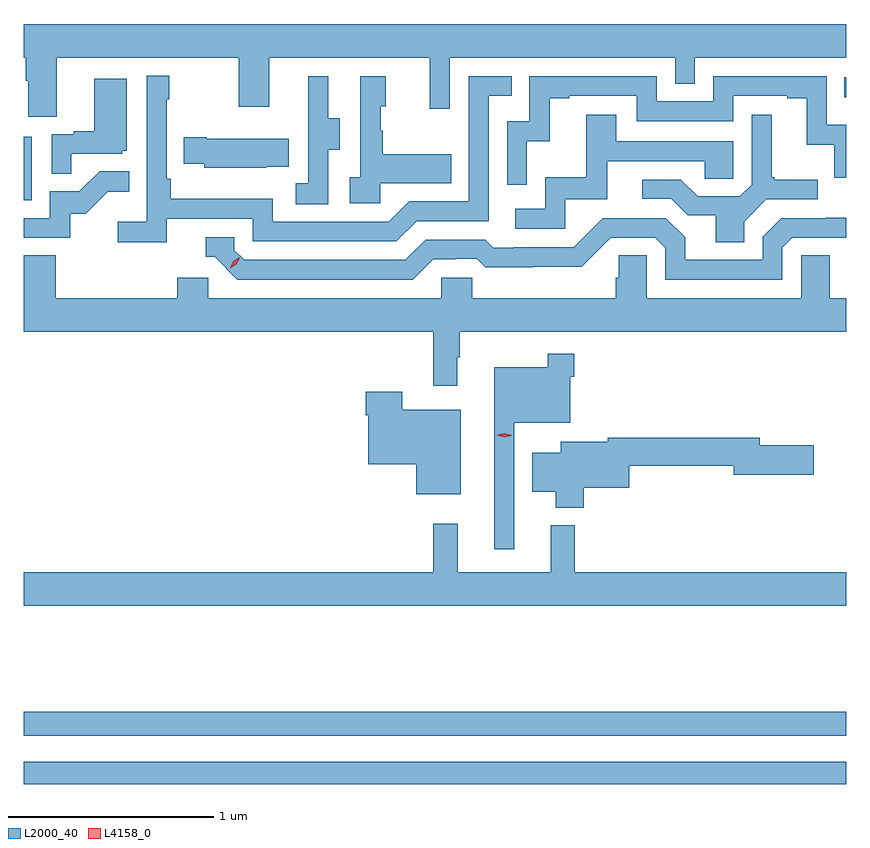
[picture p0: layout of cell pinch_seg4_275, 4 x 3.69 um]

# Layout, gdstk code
import gdstk
lib = gdstk.Library(unit=1e-6, precision=1e-09)
def R(c, l, rs):  # rectangles x0, y0, x1, y1
    for r in rs: c.add(gdstk.rectangle(r[:2], r[2:], *l))
def P(c, l, *ps):  # polygons
    for p in ps: c.add(gdstk.Polygon(p, *l))
L2000_40 = (2000, 40)
L4158_0 = (4158, 0)

pinch_seg4_275 = lib.new_cell('pinch_seg4_275')
R(pinch_seg4_275, L2000_40, [(937.339,813.27,941.339,813.378), (937.339,813.504,941.339,813.62), (937.339,816.108,937.378,816.415), (941.329,816.608,941.339,816.705)])
P(pinch_seg4_275, L2000_40, [(937.501,816.8),(938.386,816.8),(938.386,816.561),(938.533,816.561),(938.533,816.8),(939.314,816.8),(939.314,816.552),(939.411,816.552),(939.411,816.8),(940.506,816.8),(940.506,816.673),(940.602,816.673),(940.602,816.8),(941.339,816.8),(941.339,816.964),(937.339,816.964),(937.339,816.8),(937.349,816.8),(937.349,816.688),(937.361,816.688),(937.361,816.514),(937.501,816.514)],
  [(938.036,816.018),(938.454,816.018),(938.454,815.907),(939.151,815.907),(939.25,816.006),(939.6,816.006),(939.6,816.615),(939.713,816.615),(939.713,816.711),(939.504,816.711),(939.504,816.102),(939.213,816.102),(939.114,816.003),(938.55,816.003),(938.55,816.115),(938.054,816.115),(938.054,816.211),(938.034,816.211),(938.034,816.599),(938.047,816.599),(938.047,816.712),(937.938,816.712),(937.938,816.004),(937.797,816.004),(937.797,815.902),(938.036,815.902)],
  [(939.786,816.395),(939.896,816.395),(939.896,816.603),(939.991,816.603),(939.991,816.615),(940.32,816.615),(940.32,816.492),(940.788,816.492),(940.788,816.615),(941.051,816.615),(941.051,816.603),(941.147,816.603),(941.147,816.377),(941.28,816.377),(941.28,816.216),(941.339,816.216),(941.339,816.475),(941.244,816.475),(941.244,816.711),(940.692,816.711),(940.692,816.588),(940.416,816.588),(940.416,816.711),(939.798,816.711),(939.798,816.492),(939.69,816.492),(939.69,816.183),(939.786,816.183)],
  [(938.82,816.352),(938.875,816.352),(938.875,816.507),(938.821,816.507),(938.821,816.709),(938.723,816.709),(938.723,816.495),(938.724,816.495),(938.724,816.191),(938.661,816.191),(938.661,816.088),(938.82,816.088)],
  [(939.072,816.191),(939.419,816.191),(939.419,816.331),(939.085,816.331),(939.085,816.446),(939.075,816.446),(939.075,816.564),(939.1,816.564),(939.1,816.709),(938.976,816.709),(938.976,816.218),(938.925,816.218),(938.925,816.093),(939.072,816.093)],
  [(937.571,816.333),(937.818,816.333),(937.818,816.348),(937.84,816.348),(937.84,816.697),(937.682,816.697),(937.682,816.442),(937.583,816.442),(937.583,816.429),(937.476,816.429),(937.476,816.235),(937.571,816.235)],
  [(939.972,816.111),(940.177,816.111),(940.177,816.297),(940.651,816.297),(940.651,816.213),(940.788,816.213),(940.788,816.393),(940.219,816.393),(940.219,816.523),(940.075,816.523),(940.075,816.22),(939.876,816.22),(939.876,816.066),(939.729,816.066),(939.729,815.97),(939.972,815.97)],
  [(940.843,816.004),(940.95,816.111),(941.2,816.111),(941.2,816.208),(940.987,816.208),(940.987,816.22),(940.975,816.22),(940.975,816.523),(940.878,816.523),(940.878,816.183),(940.821,816.126),(940.615,816.126),(940.534,816.207),(940.347,816.207),(940.347,816.114),(940.488,816.114),(940.568,816.034),(940.703,816.034),(940.703,815.902),(940.843,815.902)],
  [(938.519,816.269),(938.627,816.269),(938.627,816.406),(938.23,816.406),(938.23,816.414),(938.119,816.414),(938.119,816.284),(938.217,816.284),(938.217,816.266),(938.519,816.266)],
  [(937.566,816.042),(937.642,816.042),(937.749,816.149),(937.853,816.149),(937.853,816.248),(937.709,816.248),(937.611,816.15),(937.467,816.15),(937.467,816.021),(937.339,816.021),(937.339,815.925),(937.566,815.925)],
  [(939.331,815.82),(939.438,815.82),(939.438,815.823),(939.541,815.823),(939.583,815.781),(939.816,815.781),(939.816,815.783),(940.052,815.783),(940.194,815.925),(940.41,815.925),(940.458,815.877),(940.458,815.721),(941.028,815.721),(941.028,815.877),(941.076,815.925),(941.339,815.925),(941.339,816.023),(941.238,816.023),(941.238,816.021),(941.022,816.021),(940.932,815.931),(940.932,815.817),(940.555,815.817),(940.555,815.927),(940.461,816.021),(940.155,816.021),(940.014,815.88),(939.721,815.88),(939.721,815.877),(939.622,815.877),(939.583,815.916),(939.294,815.916),(939.195,815.817),(938.412,815.817),(938.364,815.865),(938.364,815.928),(938.225,815.928),(938.225,815.832),(938.268,815.832),(938.379,815.721),(939.232,815.721)],
  [(939.448,815.345),(939.46,815.345),(939.46,815.468),(941.339,815.468),(941.339,815.632),(941.257,815.632),(941.257,815.84),(941.118,815.84),(941.118,815.632),(940.368,815.632),(940.368,815.84),(940.231,815.84),(940.231,815.73),(940.217,815.73),(940.217,815.632),(939.519,815.632),(939.519,815.73),(939.369,815.73),(939.369,815.632),(938.238,815.632),(938.238,815.73),(938.087,815.73),(938.087,815.632),(937.496,815.632),(937.496,815.84),(937.339,815.84),(937.339,815.468),(939.331,815.468),(939.331,815.205),(939.448,815.205)],
  [(939.723,815.027),(939.996,815.027),(939.996,815.249),(940.016,815.249),(940.016,815.362),(939.888,815.362),(939.888,815.296),(939.626,815.296),(939.626,814.41),(939.723,814.41)],
  [(939.463,815.089),(939.18,815.089),(939.18,815.176),(939.002,815.176),(939.002,815.063),(939.014,815.063),(939.014,814.823),(939.248,814.823),(939.248,814.679),(939.463,814.679)],
  [(940.061,814.709),(940.282,814.709),(940.282,814.816),(940.79,814.816),(940.79,814.774),(941.179,814.774),(941.179,814.916),(940.918,814.916),(940.918,814.952),(940.178,814.952),(940.178,814.933),(939.95,814.933),(939.95,814.879),(939.812,814.879),(939.812,814.691),(939.926,814.691),(939.926,814.613),(940.061,814.613)],
  [(941.339,814.3),(940.019,814.3),(940.019,814.528),(939.902,814.528),(939.902,814.3),(939.449,814.3),(939.449,814.534),(939.331,814.534),(939.331,814.3),(937.339,814.3),(937.339,814.136),(941.339,814.136)])
P(pinch_seg4_275, L4158_0, [(938.343,815.777),(938.343,815.777),(938.359,815.81),(938.389,815.83),(938.389,815.83),(938.389,815.829),(938.374,815.797),(938.343,815.777)],
  [(939.676,814.955),(939.641,814.966),(939.641,814.966),(939.641,814.967),(939.677,814.975),(939.712,814.964),(939.712,814.963),(939.712,814.963)])

lib.write_gds('pinch_seg4_275.gds')
